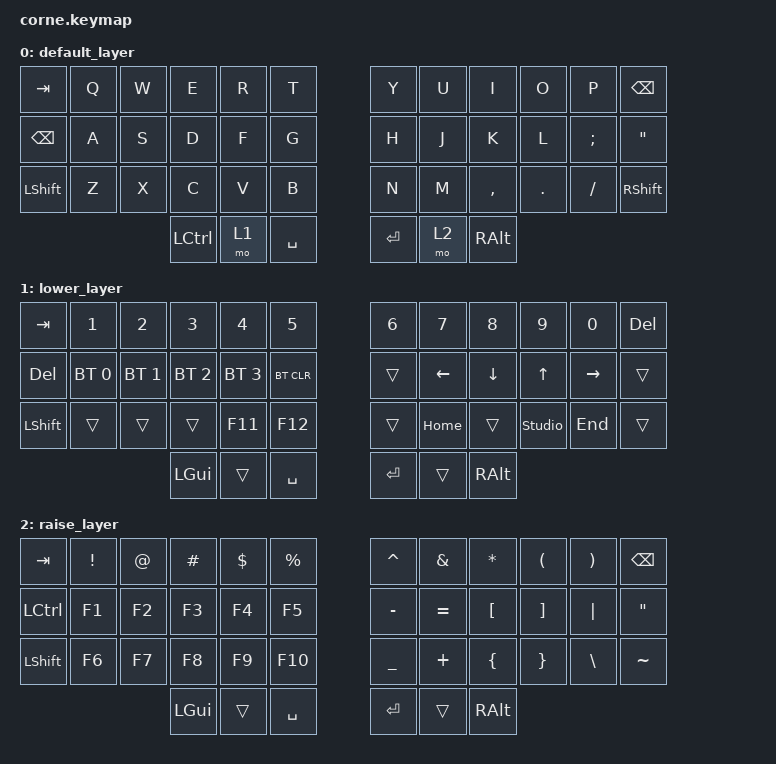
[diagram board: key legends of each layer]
/*
 * Copyright (c) 2020 The ZMK Contributors
 *
 * SPDX-License-Identifier: MIT
 */

#include <behaviors.dtsi>
#include <dt-bindings/zmk/keys.h>
#include <dt-bindings/zmk/bt.h>

/ {
        keymap {
                compatible = "zmk,keymap";

                default_layer {
// -----------------------------------------------------------------------------------------
// |  TAB |  Q  |  W  |  E  |  R  |  T  |   |  Y  |  U   |  I  |  O  |  P  | BSPC |
// | BSPC |  A  |  S  |  D  |  F  |  G  |   |  H  |  J   |  K  |  L  |  ;  |  "   |
// | SHFT |  Z  |  X  |  C  |  V  |  B  |   |  N  |  M   |  ,  |  .  |  /  | SHFT |
//                    | LCTR| LWR | SPC |   | ENT | RSE  | ALT |
                        bindings = <
   &kp TAB   &kp Q &kp W  &kp E     &kp R &kp T       &kp Y    &kp U  &kp I     &kp O   &kp P    &kp BSPC
   &kp BSPC  &kp A &kp S  &kp D     &kp F &kp G       &kp H    &kp J  &kp K     &kp L   &kp SEMI &kp DQT
   &kp LSHFT &kp Z &kp X  &kp C     &kp V &kp B       &kp N    &kp M  &kp COMMA &kp DOT &kp FSLH &kp RSHFT
                          &kp LCTRL &mo 1 &kp SPACE   &kp RET  &mo 2  &kp RALT
                        >;
                };
                lower_layer {
// -----------------------------------------------------------------------------------------
// |  TAB |  1  |  2  |  3  |  4  |  5  |   |  6  |  7  |  8  |  9           |  0  | DEL |
// |  DEL | BT1 | BT2 | BT3 | BT4 |BTCLR|   |     | LFT | DWN |  UP          | RGT |     |
// | SHFT |     |     |     | F11 | F12 |   |     |HOME |     |&studio_unlock| END |     |
//                    | GUI |     | SPC |   | ENT |     | ALT |
                        bindings = <
   &kp TAB    &kp N1       &kp N2       &kp N3       &kp N4       &kp N5       &kp N6   &kp N7   &kp N8    &kp N9         &kp N0    &kp DEL
   &kp DEL    &bt BT_SEL 0 &bt BT_SEL 1 &bt BT_SEL 2 &bt BT_SEL 3 &bt BT_CLR   &trans   &kp LEFT &kp DOWN  &kp UP         &kp RIGHT &trans
   &kp LSHFT  &trans       &trans       &trans       &kp F11      &kp F12      &trans   &kp HOME &trans    &studio_unlock &kp END   &trans
                                        &kp LGUI     &trans       &kp SPACE    &kp RET  &trans   &kp RALT
                        >;
                };

                raise_layer {
// -----------------------------------------------------------------------------------------
// |  TAB |  !  |  @  |  #  |  $  |  %  |   |  ^  |  &  |  *  |  (  |  )  | BSPC|
// | CTRL | F1  | F2  | F3  | F4  | F5  |   |  -  |  =  |  [  |  ]  | "|" |  '  |
// | SHFT | F6  | F7  | F8  | F9  | F10 |   |  _  |  +  |  {  |  }  |  \  |  ~  |
//                    | GUI |     | SPC |   | ENT |     | ALT |
                        bindings = <
   &kp  TAB  &kp EXCL &kp AT &kp HASH &kp DLLR &kp PRCNT   &kp CARET &kp AMPS  &kp ASTRK &kp LPAR &kp RPAR &kp BSPC
   &kp LCTRL &kp F1   &kp F2 &kp F3   &kp F4   &kp F5      &kp MINUS &kp EQUAL &kp LBKT  &kp RBKT &kp PIPE &kp DQT
   &kp LSHFT &kp F6   &kp F7 &kp F8   &kp F9   &kp F10     &kp UNDER &kp PLUS  &kp LBRC  &kp RBRC &kp BSLH &kp TILDE
                             &kp LGUI &trans   &kp SPACE   &kp RET   &trans    &kp RALT
                        >;
                };
        };
};
